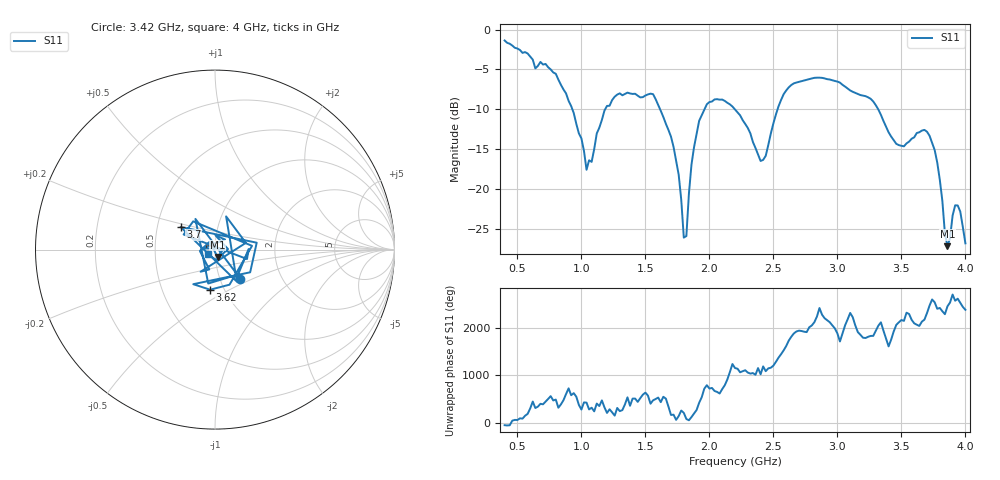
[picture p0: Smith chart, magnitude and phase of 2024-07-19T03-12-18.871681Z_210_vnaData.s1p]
!Created with skrf (http://scikit-rf.org).
# Hz S RI R 50.0
!freq ReS11 ImS11
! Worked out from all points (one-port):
!   181 points, 400 MHz to 4 GHz, reference 50 ohm
!   lowest |S11| = -27.1 dB at 3.86 GHz (marker M1), VSWR 1.09, Z = 51.3 - j4.29 ohm
!   |S11| at or under -10 dB: 1.615 GHz to 1.961 GHz (345.7 MHz wide, 19.3 % of centre); 2.2 GHz to 2.532 GHz (332.5 MHz wide, 14.1 % of centre); 3.32 GHz to end of sweep (the widest 3 of 4)
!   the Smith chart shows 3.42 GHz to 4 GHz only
!   S11 on the Smith chart (normalised r, x): 3.42 GHz: 1.25, -0.42; 3.62 GHz: 0.86, -0.40; 3.7 GHz: 0.66, +0.18; 4 GHz: 0.93, -0.05
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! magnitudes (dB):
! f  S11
! 400 MHz  -1.4
! 860 MHz  -7.5
! 1 GHz  -13.6
! 1.04 GHz  -17.6
! 1.18 GHz  -10.1
! 1.3 GHz  -8.0
! 1.56 GHz  -8.1
! 1.7 GHz  -13.4
! 1.76 GHz  -18.2
! 1.8 GHz  -26.0
! 1.82 GHz  -25.8
! 1.86 GHz  -16.9
! 1.92 GHz  -11.4
! 2.04 GHz  -8.7
! 2.2 GHz  -10.0
! 2.42 GHz  -16.3
! 2.56 GHz  -8.8
! 2.66 GHz  -6.7
! 3.1 GHz  -7.6
! 3.28 GHz  -9.0
! 3.42 GHz  -13.4
! 3.56 GHz  -14.0
! 3.62 GHz  -13.0
! 3.7 GHz  -12.8
! 3.78 GHz  -16.6
! 3.86 GHz  -27.1
! 3.92 GHz  -22.0
! 4 GHz  -26.8
